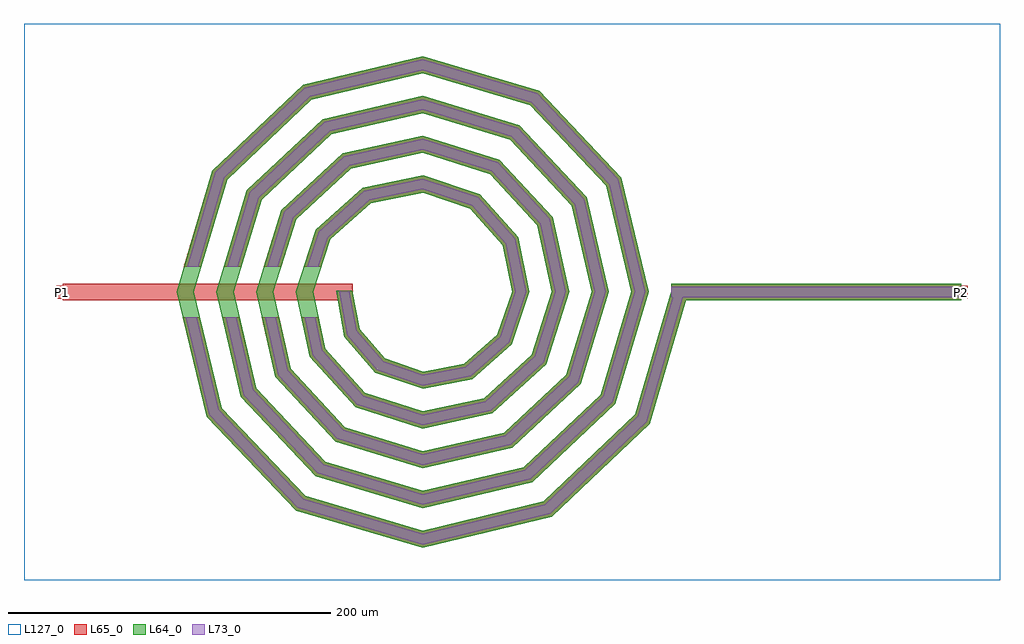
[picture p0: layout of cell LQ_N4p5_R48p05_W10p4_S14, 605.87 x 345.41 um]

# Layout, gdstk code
import gdstk
lib = gdstk.Library(unit=1e-6, precision=1e-09)
def R(c, l, rs):  # rectangles x0, y0, x1, y1
    for r in rs: c.add(gdstk.rectangle(r[:2], r[2:], *l))
def P(c, l, *ps):  # polygons
    for p in ps: c.add(gdstk.Polygon(p, *l))
L64_0 = (64, 0)
L65_0 = (65, 0)
L73_0 = (73, 0)
L127_0 = (127, 0)

lq_n4p5_r48p05_w10p4_s14 = lib.new_cell('LQ_N4p5_R48p05_W10p4_S14')
R(lq_n4p5_r48p05_w10p4_s14, L64_0, [(154.463,-5.2,334.463,5.2)])
P(lq_n4p5_r48p05_w10p4_s14, L64_0, [(-39.017,-22.997),(-23.333,-41.197),(0.377,-49.4),(26.042,-44.381),(46.518,-26.452),(55.568,0.339),(49.74,29.096),(29.565,51.843),(0.307,61.736),(-32.155,55.097),(-57.172,32.673),(-67.905,0.282),(-60.451,-35.218),(-35.778,-62.503),(0.26,-74.074),(38.285,-65.804),(67.835,-38.88),(80.243,0.241),(71.156,41.354),(41.979,73.17),(0.225,86.413),(-44.425,76.507),(-78.505,45.077),(-92.583,0.211),(-81.857,-47.498),(-48.173,-83.842),(0.198,-98.752),(50.573,-87.206),(89.179,-51.267),(104.922,0.187),(92.554,53.648),(54.361,94.517),(0.177,111.092),(-56.725,97.902),(-99.856,57.454),(-117.262,0.168),(-103.25,-59.803),(-60.546,-105.195),(0.16,-123.431),(62.881,-108.597),(110.535,-63.638),(129.601,0.153),(113.944,65.96),(66.729,115.874),(0.146,135.771),(-69.039,119.29),(-121.215,69.819),(-141.941,0.14),(-124.637,-72.119),(-72.909,-126.555),(0.135,-148.111),(75.199,-129.983),(131.896,-75.999),(154.674,1.467),(164.652,-1.467),(141.087,-81.608),(80.351,-139.437),(0.135,-158.875),(-78.527,-135.74),(-134.097,-77.261),(-152.705,0.14),(-130.394,75.447),(-74.171,128.756),(0.146,146.535),(72.368,125.047),(123.416,71.08),(140.364,0.153),(119.7,-69.288),(67.989,-118.076),(0.16,-134.194),(-66.21,-114.353),(-112.736,-64.897),(-128.024,0.168),(-109.005,63.132),(-61.804,107.397),(0.177,121.854),(60.055,103.657),(102.058,58.711),(115.683,0.187),(98.308,-56.978),(55.616,-96.719),(0.198,-109.513),(-53.903,-92.958),(-91.382,-52.521),(-103.342,0.211),(-87.608,50.829),(-49.424,86.045),(0.225,97.172),(47.757,82.257),(80.708,46.325),(91.001,0.241),(76.904,-44.686),(43.224,-75.373),(0.26,-84.83),(-41.618,-71.55),(-70.039,-40.121),(-78.659,0.282),(-66.195,38.552),(-37.014,64.707),(0.307,72.488),(35.49,60.836),(59.377,33.903),(66.316,0.339),(55.475,-32.433),(30.786,-54.05),(0.377,-60.144),(-29.382,-50.109),(-48.726,-27.662),(-53.714,0.955),(-43.49,0.955)])
R(lq_n4p5_r48p05_w10p4_s14, L65_0, [(-223.402,-5.2,-43.402,5.2), (154.463,-5.2,334.463,5.2), (-227.402,-4,-219.402,4), (330.463,-4,338.463,4)])
P(lq_n4p5_r48p05_w10p4_s14, L65_0, [(-124.637,-72.119),(-72.909,-126.555),(0.135,-148.111),(75.199,-129.983),(131.896,-75.999),(154.674,1.467),(164.652,-1.467),(141.087,-81.608),(80.351,-139.437),(0.135,-158.875),(-78.527,-135.74),(-134.097,-77.261),(-148.921,-15.6),(-138.224,-15.6)],
  [(-103.25,-59.803),(-60.546,-105.195),(0.16,-123.431),(62.881,-108.597),(110.535,-63.638),(129.601,0.153),(113.944,65.96),(66.729,115.874),(0.146,135.771),(-69.039,119.29),(-121.215,69.819),(-137.278,15.6),(-148.125,15.6),(-130.394,75.447),(-74.171,128.756),(0.146,146.535),(72.368,125.047),(123.416,71.08),(140.364,0.153),(119.7,-69.288),(67.989,-118.076),(0.16,-134.194),(-66.21,-114.353),(-112.736,-64.897),(-124.319,-15.6),(-113.636,-15.6)],
  [(-81.857,-47.498),(-48.173,-83.842),(0.198,-98.752),(50.573,-87.206),(89.179,-51.267),(104.922,0.187),(92.554,53.648),(54.361,94.517),(0.177,111.092),(-56.725,97.902),(-99.856,57.454),(-112.499,15.6),(-123.363,15.6),(-109.005,63.132),(-61.804,107.397),(0.177,121.854),(60.055,103.657),(102.058,58.711),(115.683,0.187),(98.308,-56.978),(55.616,-96.719),(0.198,-109.513),(-53.903,-92.959),(-91.382,-52.521),(-99.756,-15.6),(-89.092,-15.6)],
  [(-60.451,-35.218),(-35.778,-62.503),(0.26,-74.074),(38.285,-65.804),(67.836,-38.88),(80.244,0.241),(71.156,41.354),(41.979,73.17),(0.225,86.413),(-44.425,76.507),(-78.506,45.077),(-87.668,15.6),(-98.559,15.6),(-87.608,50.829),(-49.424,86.045),(0.225,97.172),(47.757,82.257),(80.708,46.325),(91.001,0.241),(76.904,-44.686),(43.224,-75.373),(0.26,-84.83),(-41.618,-71.55),(-70.039,-40.121),(-75.271,-15.6),(-64.637,-15.6)],
  [(-23.333,-41.197),(0.377,-49.4),(26.042,-44.381),(46.518,-26.452),(55.568,0.339),(49.74,29.096),(29.565,51.843),(0.308,61.736),(-32.155,55.097),(-57.172,32.673),(-62.732,15.6),(-73.67,15.6),(-66.195,38.552),(-37.014,64.707),(0.308,72.488),(35.49,60.836),(59.377,33.903),(66.316,0.339),(55.475,-32.433),(30.787,-54.05),(0.377,-60.144),(-29.382,-50.109),(-48.726,-27.662),(-53.714,0.955),(-43.49,0.955),(-39.017,-22.997)])
R(lq_n4p5_r48p05_w10p4_s14, L73_0, [(154.463,-3.2,334.463,3.2)])
P(lq_n4p5_r48p05_w10p4_s14, L73_0, [(-126.456,-73.108),(-73.99,-128.321),(0.083,-150.181),(76.19,-131.801),(133.663,-77.077),(156.593,0.903),(162.733,0.903),(139.319,-80.529),(79.36,-137.619),(0.083,-156.805),(-77.447,-133.974),(-132.277,-76.272),(-146.864,-15.6),(-140.281,-15.6)],
  [(-105.074,-60.782),(-61.635,-106.956),(0.099,-125.501),(63.863,-110.42),(112.297,-64.724),(131.671,0.094),(115.765,66.944),(67.813,117.638),(0.09,137.841),(-70.026,121.111),(-122.98,70.901),(-139.364,15.6),(-146.039,15.6),(-128.629,74.365),(-73.184,126.936),(0.09,144.465),(71.283,123.283),(121.594,70.095),(138.295,0.094),(117.938,-68.202),(67.006,-116.253),(0.099,-132.124),(-65.121,-112.592),(-110.912,-63.917),(-122.264,-15.6),(-115.69,-15.6)],
  [(-83.688,-48.464),(-49.275,-85.595),(0.122,-100.822),(51.543,-89.035),(90.935,-52.366),(106.991,0.115),(94.382,54.622),(55.456,96.275),(0.109,113.161),(-57.702,99.728),(-101.615,58.546),(-114.588,15.6),(-121.273,15.6),(-107.246,62.04),(-60.828,105.571),(0.109,119.784),(58.96,101.899),(100.23,57.737),(113.614,0.115),(96.553,-55.88),(54.647,-94.89),(0.122,-107.444),(-52.801,-91.205),(-89.55,-51.555),(-97.705,-15.6),(-91.143,-15.6)],
  [(-62.295,-36.161),(-36.901,-64.243),(0.16,-76.143),(39.235,-67.645),(69.58,-39.996),(82.312,0.148),(72.993,42.31),(43.09,74.917),(0.138,88.482),(-45.387,78.341),(-80.256,46.183),(-89.762,15.6),(-96.464,15.6),(-85.858,49.723),(-48.463,84.21),(0.138,95.103),(46.646,80.509),(78.871,45.369),(88.932,0.148),(75.16,-43.569),(42.274,-73.533),(0.16,-82.762),(-40.495,-69.811),(-68.196,-39.178),(-73.226,-15.6),(-66.682,-15.6)],
  [(-24.497,-42.911),(0.232,-51.466),(26.955,-46.24),(48.24,-27.603),(57.635,0.208),(51.593,30.02),(30.705,53.573),(0.189,63.804),(-33.089,56.945),(-58.907,33.804),(-64.836,15.6),(-71.567,15.6),(-64.459,37.422),(-36.08,62.859),(0.189,70.42),(34.351,59.107),(57.524,32.979),(64.249,0.208),(53.752,-31.283),(29.874,-52.19),(0.232,-58.078),(-28.219,-48.395),(-46.859,-26.765),(-51.748,0.587),(-45.456,0.587),(-40.884,-23.894)])
R(lq_n4p5_r48p05_w10p4_s14, L127_0, [(-247.402,-178.875,358.463,166.535)])
lq_n4p5_r48p05_w10p4_s14.add(gdstk.Label('P2', (334.463,0), layer=65, texttype=0))
lq_n4p5_r48p05_w10p4_s14.add(gdstk.Label('P1', (-223.402,0), layer=65, texttype=0))
lq_n4p5_r48p05_w10p4_s14.add(gdstk.Label('P2', (338.463,0), layer=145, texttype=0))
lq_n4p5_r48p05_w10p4_s14.add(gdstk.Label('P1', (-227.402,0), layer=145, texttype=0))

lib.write_gds('LQ_N4p5_R48p05_W10p4_S14.gds')
